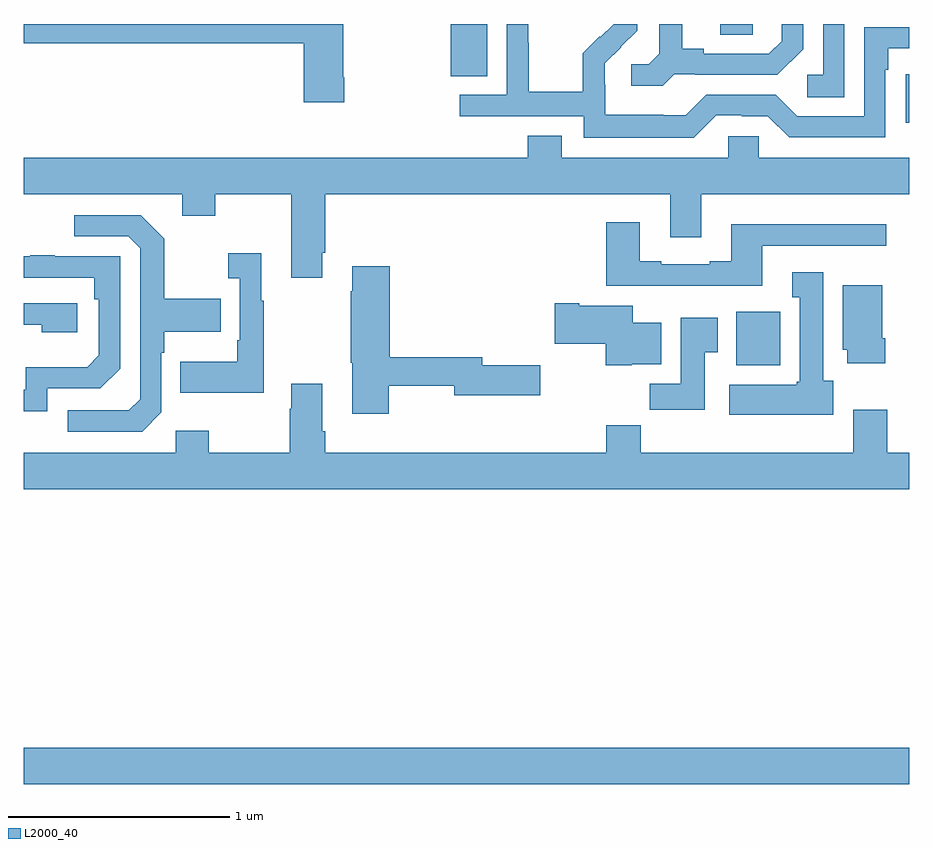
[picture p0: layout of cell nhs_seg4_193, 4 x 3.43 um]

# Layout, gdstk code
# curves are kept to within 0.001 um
import gdstk
lib = gdstk.Library(unit=1e-6, precision=1e-09)
def R(c, l, rs):  # rectangles x0, y0, x1, y1
    for r in rs: c.add(gdstk.rectangle(r[:2], r[2:], *l))
def P(c, l, *ps):  # polygons
    for p in ps: c.add(gdstk.Polygon(p, *l))
L2000_40 = (2000, 40)

nhs_seg4_193 = lib.new_cell('nhs_seg4_193')
R(nhs_seg4_193, L2000_40, [(119,815.468,123,815.632), (122.219,817.358,122.416,817.6), (122.983,818.454,123,818.672), (120.928,818.665,121.093,818.9), (122.147,818.851,122.292,818.9)])
P(nhs_seg4_193, L2000_40, [(122.706,818.9),(122.61,818.9),(122.61,818.67),(122.538,818.67),(122.538,818.569),(122.706,818.569)],
  [(120.449,818.659),(120.444,818.659),(120.444,818.9),(119,818.9),(119,818.812),(120.266,818.812),(120.266,818.547),(120.449,818.547)],
  [(122.127,818.487),(122.243,818.487),(122.243,818.484),(122.361,818.484),(122.457,818.388),(122.892,818.388),(122.892,818.693),(122.905,818.693),(122.905,818.79),(123,818.79),(123,818.886),(122.796,818.886),(122.796,818.484),(122.493,818.484),(122.397,818.58),(122.082,818.58),(121.989,818.487),(121.889,818.487),(121.889,818.491),(121.626,818.491),(121.626,818.625),(121.624,818.625),(121.624,818.722),(121.77,818.87),(121.77,818.9),(121.664,818.9),(121.605,818.841),(121.602,818.844),(121.525,818.767),(121.525,818.593),(121.281,818.593),(121.281,818.816),(121.278,818.816),(121.278,818.9),(121.182,818.9),(121.182,818.58),(120.969,818.58),(120.969,818.484),(121.53,818.484),(121.53,818.387),(122.027,818.387)],
  [(121.938,818.673),(122.032,818.673),(122.032,818.67),(122.404,818.67),(122.52,818.786),(122.52,818.9),(122.423,818.9),(122.423,818.823),(122.366,818.766),(122.071,818.766),(122.071,818.789),(121.975,818.789),(121.975,818.9),(121.871,818.9),(121.871,818.765),(121.824,818.718),(121.743,818.718),(121.743,818.621),(121.886,818.621)],
  [(120.349,817.867),(120.362,817.867),(120.362,818.132),(121.919,818.132),(121.919,817.938),(122.059,817.938),(122.059,818.132),(123,818.132),(123,818.296),(122.319,818.296),(122.319,818.394),(122.181,818.394),(122.181,818.296),(121.429,818.296),(121.429,818.395),(121.277,818.395),(121.277,818.296),(119,818.296),(119,818.132),(119.717,818.132),(119.717,818.033),(119.865,818.033),(119.865,818.132),(120.209,818.132),(120.209,817.755),(120.349,817.755)],
  [(119.622,817.146),(119.622,817.415),(119.635,817.415),(119.635,817.511),(119.891,817.511),(119.891,817.659),(119.635,817.659),(119.635,817.931),(119.529,818.037),(119.229,818.037),(119.229,817.941),(119.472,817.941),(119.526,817.887),(119.526,817.206),(119.475,817.155),(119.199,817.155),(119.199,817.059),(119.535,817.059)],
  [(122.335,817.899),(122.896,817.899),(122.896,817.996),(122.195,817.996),(122.195,817.828),(122.099,817.828),(122.099,817.815),(121.879,817.815),(121.879,817.828),(121.783,817.828),(121.783,818.005),(121.631,818.005),(121.631,817.718),(122.335,817.718)],
  [(120.085,817.651),(120.073,817.651),(120.073,817.864),(119.925,817.864),(119.925,817.751),(119.976,817.751),(119.976,817.471),(119.964,817.471),(119.964,817.375),(119.707,817.375),(119.707,817.235),(120.085,817.235)],
  [(119.106,817.254),(119.346,817.254),(119.436,817.344),(119.436,817.851),(119.141,817.851),(119.141,817.856),(119.029,817.856),(119.029,817.851),(119,817.851),(119,817.755),(119.32,817.755),(119.32,817.658),(119.34,817.658),(119.34,817.404),(119.287,817.351),(119.01,817.351),(119.01,817.248),(119,817.248),(119,817.152),(119.106,817.152)],
  [(120.648,817.266),(120.944,817.266),(120.944,817.223),(121.333,817.223),(121.333,817.358),(121.072,817.358),(121.072,817.394),(120.653,817.394),(120.653,817.807),(120.485,817.807),(120.485,817.694),(120.478,817.694),(120.478,817.371),(120.485,817.371),(120.485,817.14),(120.648,817.14)],
  [(122.656,817.29),(122.611,817.29),(122.611,817.78),(122.471,817.78),(122.471,817.667),(122.504,817.667),(122.504,817.284),(122.491,817.284),(122.491,817.27),(122.187,817.27),(122.187,817.136),(122.656,817.136)],
  [(122.891,817.48),(122.878,817.48),(122.878,817.72),(122.699,817.72),(122.699,817.428),(122.72,817.428),(122.72,817.368),(122.891,817.368)],
  [(121.746,817.364),(121.879,817.364),(121.879,817.552),(121.75,817.552),(121.75,817.627),(121.51,817.627),(121.51,817.64),(121.398,817.64),(121.398,817.457),(121.628,817.457),(121.628,817.358),(121.746,817.358)],
  [(119.242,817.638),(119,817.638),(119,817.542),(119.081,817.542),(119.081,817.508),(119.242,817.508)],
  [(122.077,817.417),(122.134,817.417),(122.134,817.573),(121.967,817.573),(121.967,817.276),(121.828,817.276),(121.828,817.158),(122.077,817.158)],
  [(123,816.964),(122.9,816.964),(122.9,817.159),(122.747,817.159),(122.747,816.964),(121.787,816.964),(121.787,817.088),(121.631,817.088),(121.631,816.964),(120.362,816.964),(120.362,817.06),(120.349,817.06),(120.349,817.276),(120.209,817.276),(120.209,817.163),(120.202,817.163),(120.202,816.964),(119.835,816.964),(119.835,817.063),(119.688,817.063),(119.688,816.964),(119,816.964),(119,816.8),(123,816.8)])

lib.write_gds('nhs_seg4_193.gds')
